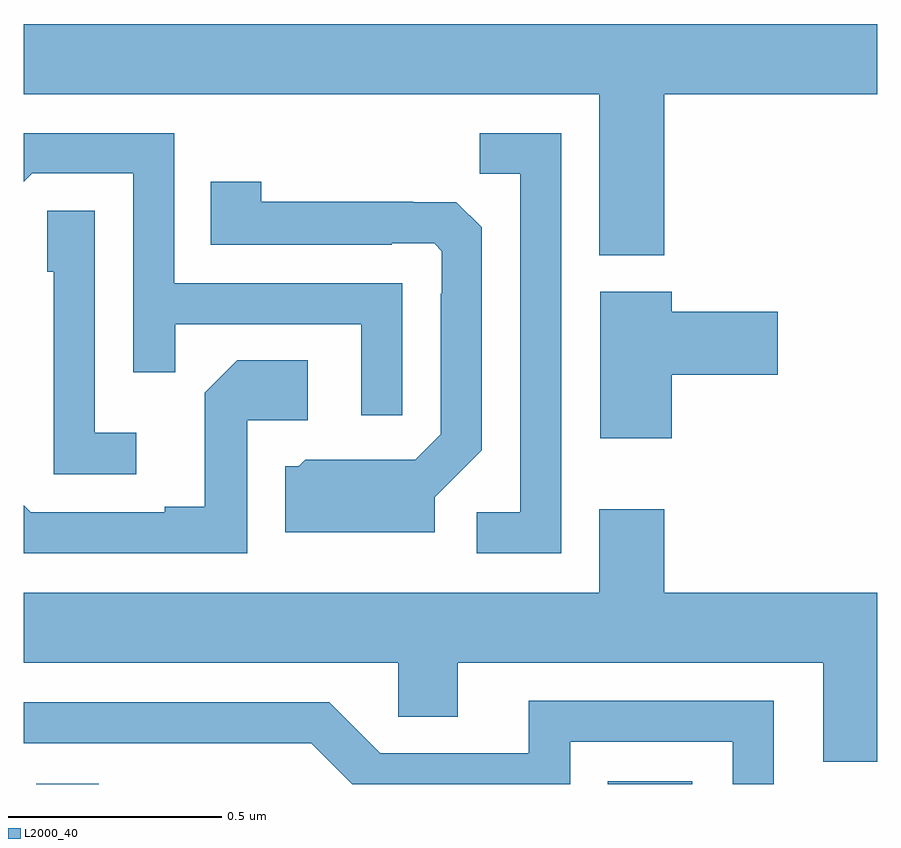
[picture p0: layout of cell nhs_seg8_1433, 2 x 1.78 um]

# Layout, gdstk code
import gdstk
lib = gdstk.Library(unit=1e-6, precision=1e-09)
def R(c, l, rs):  # rectangles x0, y0, x1, y1
    for r in rs: c.add(gdstk.rectangle(r[:2], r[2:], *l))
def P(c, l, *ps):  # polygons
    for p in ps: c.add(gdstk.Polygon(p, *l))
L2000_40 = (2000, 40)

nhs_seg8_1433 = lib.new_cell('nhs_seg8_1433')
R(nhs_seg8_1433, L2000_40, [(130.03,1098.9,130.176,1098.901), (131.368,1098.9,131.566,1098.907)])
P(nhs_seg8_1433, L2000_40, [(131.501,1100.516),(132,1100.516),(132,1100.68),(130,1100.68),(130,1100.516),(131.348,1100.516),(131.348,1100.138),(131.501,1100.138)],
  [(130.887,1100.073),(130.353,1100.073),(130.353,1100.424),(130,1100.424),(130,1100.311),(130.02,1100.331),(130.257,1100.331),(130.257,1099.864),(130.355,1099.864),(130.355,1099.977),(130.791,1099.977),(130.791,1099.764),(130.887,1099.764)],
  [(131.259,1100.424),(131.068,1100.424),(131.068,1100.329),(131.163,1100.329),(131.163,1099.536),(131.061,1099.536),(131.061,1099.44),(131.259,1099.44)],
  [(130.963,1099.572),(131.073,1099.682),(131.073,1100.204),(131.014,1100.263),(130.913,1100.263),(130.913,1100.264),(130.557,1100.264),(130.557,1100.311),(130.438,1100.311),(130.438,1100.163),(130.862,1100.163),(130.862,1100.166),(130.962,1100.166),(130.98,1100.148),(130.98,1100.048),(130.977,1100.048),(130.977,1099.719),(130.917,1099.659),(130.794,1099.659),(130.794,1099.66),(130.66,1099.66),(130.644,1099.644),(130.613,1099.644),(130.613,1099.49),(130.963,1099.49)],
  [(130.264,1099.723),(130.167,1099.723),(130.167,1100.243),(130.056,1100.243),(130.056,1100.1),(130.071,1100.1),(130.071,1099.626),(130.264,1099.626)],
  [(131.518,1099.859),(131.767,1099.859),(131.767,1100.006),(131.518,1100.006),(131.518,1100.053),(131.351,1100.053),(131.351,1099.71),(131.518,1099.71)],
  [(130.524,1099.752),(130.666,1099.752),(130.666,1099.892),(130.501,1099.892),(130.425,1099.816),(130.425,1099.549),(130.331,1099.549),(130.331,1099.536),(130.017,1099.536),(130,1099.553),(130,1099.44),(130.524,1099.44)],
  [(132,1099.348),(131.501,1099.348),(131.501,1099.543),(131.348,1099.543),(131.348,1099.348),(130,1099.348),(130,1099.184),(130.878,1099.184),(130.878,1099.057),(131.017,1099.057),(131.017,1099.184),(131.873,1099.184),(131.873,1098.952),(132,1098.952)],
  [(131.28,1098.999),(131.661,1098.999),(131.661,1098.9),(131.757,1098.9),(131.757,1099.095),(131.183,1099.095),(131.183,1098.972),(130.836,1098.972),(130.716,1099.092),(130,1099.092),(130,1098.996),(130.674,1098.996),(130.77,1098.9),(131.28,1098.9)])

lib.write_gds('nhs_seg8_1433.gds')
